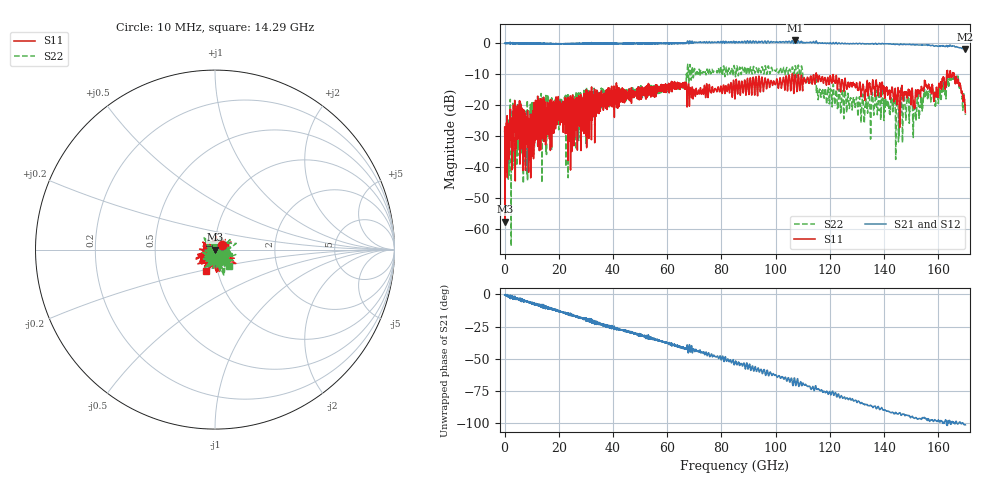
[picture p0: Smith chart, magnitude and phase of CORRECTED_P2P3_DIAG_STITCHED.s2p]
! Generated by Phase II Calibration
# Hz S RI R 50
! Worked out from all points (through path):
!   4072 points, 10 MHz to 170 GHz, reference 50 ohm
!   highest |S21| = 0.86 dB at 107.2 GHz (marker M1); lowest = -1.9 dB at 170 GHz (marker M2)
!   group delay of S21, straight-line fit = 1.73 ps
!   lowest |S11| = -57.7 dB at 177.5 MHz (marker M3), VSWR 1.00, Z = 50.1 + j0.0409 ohm
!   |S11| at or under -10 dB: start of sweep to 106.1 GHz; 106.2 GHz to 114.9 GHz (8.688 GHz wide, 7.86 % of centre); 115 GHz to 163.1 GHz (48.07 GHz wide, 34.6 % of centre)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
!   |S22| runs from -65.6 to -6.8 dB; largest |S21 - S12| = 0.021
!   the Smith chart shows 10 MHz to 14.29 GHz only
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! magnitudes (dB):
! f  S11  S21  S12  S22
! 10 MHz  -27.3  -0.1  -0.1  -28.7
! 177.5 MHz  -57.7  0.0  0.0  -34.1
! 5.453 GHz  -21.4  0.0  0.0  -31.0
! 9.514 GHz  -33.9  -0.1  -0.1  -19.8
! 12.19 GHz  -17.1  0.0  -0.1  -33.1
! 28.36 GHz  -25.1  -0.2  -0.2  -17.7
! 56.7 GHz  -15.0  -0.1  -0.1  -14.1
! 66.12 GHz  -13.4  -0.1  -0.1  -13.6
! 68.39 GHz  -14.3  0.7  0.7  -6.9
! 85.05 GHz  -17.0  0.2  0.2  -9.6
! 107.2 GHz  -10.2  0.9  0.9  -7.3
! 113.3 GHz  -12.8  0.1  0.1  -12.0
! 124.5 GHz  -12.0  0.0  0.0  -15.3
! 141.7 GHz  -16.0  -0.3  -0.3  -20.0
! 146.1 GHz  -18.3  -0.3  -0.3  -16.4
! 149.3 GHz  -15.3  -0.4  -0.4  -23.2
! 151.3 GHz  -20.9  -0.6  -0.7  -19.6
! 155.7 GHz  -13.6  -0.5  -0.5  -15.5
! 159.1 GHz  -16.3  -0.9  -0.9  -18.9
! 165.1 GHz  -10.6  -1.0  -1.0  -11.6
! 167.7 GHz  -13.8  -1.5  -1.5  -14.7
! 170 GHz  -22.5  -1.9  -1.9  -23.2
